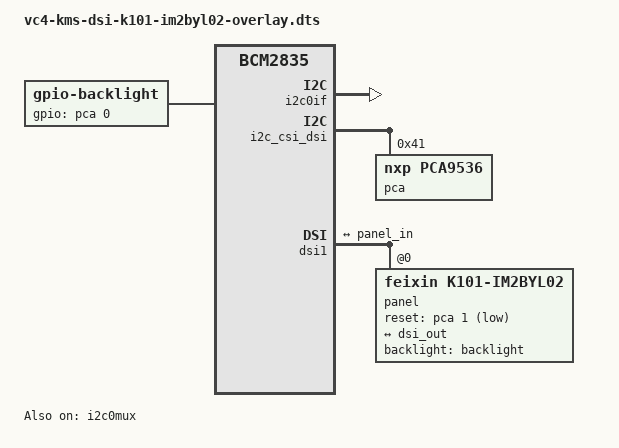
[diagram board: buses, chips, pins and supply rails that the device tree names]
/*
 * Device Tree overlay to connect a K101-IM2BYL02 DSI panel to DSI1.
 */

/dts-v1/;
/plugin/;

#include <dt-bindings/gpio/gpio.h>

/ {
	compatible = "brcm,bcm2835";

	fragment@0{
		target = <&i2c0mux>;
		__overlay__ {
			status = "okay";
		};
	};

	fragment@1{
		target = <&i2c0if>;
		__overlay__ {
			status = "okay";
		};
	};

	fragment@2{
		target = <&i2c_csi_dsi>;
		__overlay__ {
			#address-cells = <1>;
			#size-cells = <0>;
			status = "okay";

			pca: pca@41 {
				compatible = "nxp,pca9536";
				reg = <0x41>;
				gpio-controller;
				#gpio-cells = <2>;
				status = "okay";
			};
		};
	};


	fragment@3 {
		target-path = "/";
		__overlay__ {
			backlight: backlight {
				compatible = "gpio-backlight";
				gpios = <&pca 0 GPIO_ACTIVE_HIGH>;
			};
		};
	};

	fragment@4 {
		target = <&dsi1>;
		__overlay__{
			status = "okay";
			#address-cells = <1>;
			#size-cells = <0>;

			port {
				dsi_out: endpoint {
					remote-endpoint = <&panel_in>;
				};
			};

			panel@0 {
				compatible    = "feixin,k101-im2byl02";
				status        = "okay";
				reg           = <0>;
				backlight     = <&backlight>;
		        reset-gpios   = <&pca 1 GPIO_ACTIVE_LOW>;           

				port {
					panel_in: endpoint {
						remote-endpoint = <&dsi_out>;
					};
				};
			};
		};
	};

};
